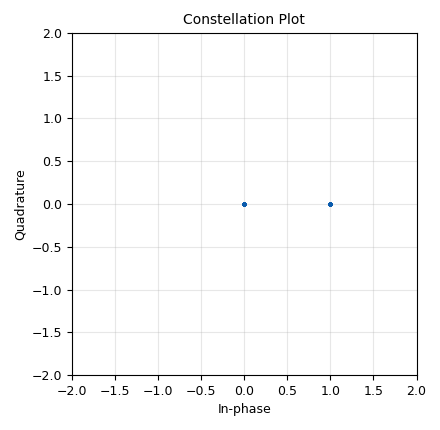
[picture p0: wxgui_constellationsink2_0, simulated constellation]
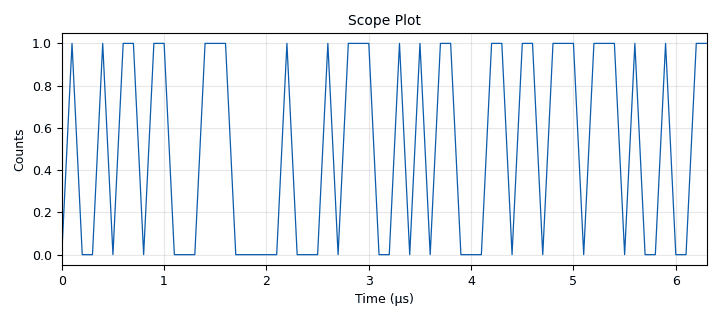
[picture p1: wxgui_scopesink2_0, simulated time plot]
<?xml version='1.0' encoding='utf-8'?>
<?grc format='1' created='3.7.11'?>
<flow_graph>
<block>
<key>options</key>
<param><key>id</key><value>top_block</value></param>
<param><key>generate_options</key><value>wx_gui</value></param>
</block>
<block>
<key>variable</key>
<param><key>id</key><value>FMCOMMS_LO</value></param>
<param><key>value</key><value>2.4e9</value></param>
</block>
<block>
<key>variable</key>
<param><key>id</key><value>FMCOMMS_RFband</value></param>
<param><key>value</key><value>20e6</value></param>
</block>
<block>
<key>variable</key>
<param><key>id</key><value>FMCOMMS_samp_rate</value></param>
<param><key>value</key><value>2084000</value></param>
</block>
<block>
<key>variable</key>
<param><key>id</key><value>fs</value></param>
<param><key>value</key><value>1000</value></param>
</block>
<block>
<key>variable</key>
<param><key>id</key><value>samp_rate</value></param>
<param><key>value</key><value>10e6</value></param>
</block>
<block>
<key>analog_random_source_x</key>
<param><key>id</key><value>analog_random_source_x_0</value></param>
<param><key>max</key><value>2</value></param>
<param><key>min</key><value>0</value></param>
<param><key>num_samps</key><value>1000</value></param>
<param><key>type</key><value>int</value></param>
<param><key>repeat</key><value>True</value></param>
</block>
<block>
<key>blocks_float_to_complex</key>
<param><key>id</key><value>blocks_float_to_complex_0</value></param>
</block>
<block>
<key>blocks_int_to_float</key>
<param><key>id</key><value>blocks_int_to_float_0</value></param>
<param><key>scale</key><value>1</value></param>
</block>
<block>
<key>iio_fmcomms5_sink</key>
<param><key>id</key><value>iio_fmcomms5_sink_0</value></param>
<param><key>attenuation1</key><value>10.0</value></param>
<param><key>attenuation2</key><value>10.0</value></param>
<param><key>attenuation3</key><value>10.0</value></param>
<param><key>attenuation4</key><value>10.0</value></param>
<param><key>buffer_size</key><value>0x8000</value></param>
<param><key>ch1_en</key><value>True</value></param>
<param><key>ch2_en</key><value>False</value></param>
<param><key>ch3_en</key><value>False</value></param>
<param><key>ch4_en</key><value>False</value></param>
<param><key>cyclic</key><value>False</value></param>
<param><key>filter</key><value></value></param>
<param><key>uri</key><value>uri</value></param>
<param><key>frequency1</key><value>FMCOMMS_LO</value></param>
<param><key>frequency2</key><value>FMCOMMS_LO</value></param>
<param><key>rf_port_select</key><value>"A"</value></param>
<param><key>bandwidth</key><value>FMCOMMS_RFband</value></param>
<param><key>samplerate</key><value>samp_rate</value></param>
</block>
<block>
<key>parameter</key>
<param><key>id</key><value>uri</value></param>
<param><key>label</key><value>URI</value></param>
<param><key>type</key><value>string</value></param>
<param><key>value</key><value>'ip:10.43.156.133'</value></param>
</block>
<block>
<key>wxgui_constellationsink2</key>
<param><key>id</key><value>wxgui_constellationsink2_0</value></param>
<param><key>const_size</key><value>2048</value></param>
<param><key>frame_rate</key><value>5</value></param>
<param><key>gain_mu</key><value>0.005</value></param>
<param><key>loop_bw</key><value>6.28/100.0</value></param>
<param><key>M</key><value>2</value></param>
<param><key>fmax</key><value>0.06</value></param>
<param><key>mu</key><value>0.5</value></param>
<param><key>omega_limit</key><value>0.005</value></param>
<param><key>samp_rate</key><value>samp_rate</value></param>
<param><key>symbol_rate</key><value>samp_rate/4.</value></param>
<param><key>theta</key><value>0</value></param>
<param><key>title</key><value>Constellation Plot</value></param>
</block>
<block>
<key>wxgui_scopesink2</key>
<param><key>id</key><value>wxgui_scopesink2_0</value></param>
<param><key>ac_couple</key><value>False</value></param>
<param><key>num_inputs</key><value>1</value></param>
<param><key>samp_rate</key><value>samp_rate</value></param>
<param><key>t_scale</key><value>0</value></param>
<param><key>title</key><value>Scope Plot</value></param>
<param><key>trig_mode</key><value>wxgui.TRIG_MODE_AUTO</value></param>
<param><key>type</key><value>float</value></param>
<param><key>v_offset</key><value>0</value></param>
<param><key>v_scale</key><value>0</value></param>
<param><key>xy_mode</key><value>False</value></param>
<param><key>y_axis_label</key><value>Counts</value></param>
</block>
<connection><source_block_id>analog_random_source_x_0</source_block_id><sink_block_id>blocks_int_to_float_0</sink_block_id><source_key>0</source_key><sink_key>0</sink_key></connection>
<connection><source_block_id>blocks_float_to_complex_0</source_block_id><sink_block_id>iio_fmcomms5_sink_0</sink_block_id><source_key>0</source_key><sink_key>0</sink_key></connection>
<connection><source_block_id>blocks_float_to_complex_0</source_block_id><sink_block_id>wxgui_constellationsink2_0</sink_block_id><source_key>0</source_key><sink_key>0</sink_key></connection>
<connection><source_block_id>blocks_int_to_float_0</source_block_id><sink_block_id>blocks_float_to_complex_0</sink_block_id><source_key>0</source_key><sink_key>0</sink_key></connection>
<connection><source_block_id>blocks_int_to_float_0</source_block_id><sink_block_id>wxgui_scopesink2_0</sink_block_id><source_key>0</source_key><sink_key>0</sink_key></connection>
</flow_graph>
